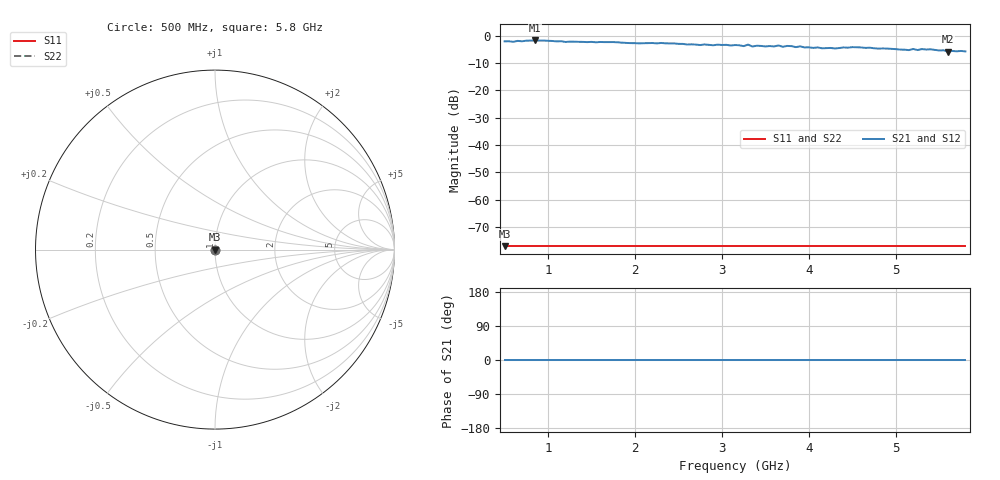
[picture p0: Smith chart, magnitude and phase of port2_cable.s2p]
# GHZ S RI R 50
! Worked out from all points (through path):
!   107 points, 500 MHz to 5.8 GHz, reference 50 ohm
!   highest |S21| = -1.79 dB at 850 MHz (marker M1); lowest = -5.9 dB at 5.6 GHz (marker M2)
!   lowest |S11| = -77.0 dB at 500 MHz (marker M3), VSWR 1.00, Z = 50 + j0.01 ohm
!   |S11| at or under -10 dB: start of sweep to end of sweep
!   |S22| runs from -77.0 to -77.0 dB; largest |S21 - S12| = 0
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0.5  0.0001 0.0001  0.7847 0  0.7847 0  0.0001 0.0001
0.6  0.0001 0.0001  0.768 0  0.768 0  0.0001 0.0001
0.85  0.0001 0.0001  0.8142 0  0.8142 0  0.0001 0.0001
1.4  0.0001 0.0001  0.7663 0  0.7663 0  0.0001 0.0001
2.3  0.0001 0.0001  0.733 0  0.733 0  0.0001 0.0001
2.75  0.0001 0.0001  0.6708 0  0.6708 0  0.0001 0.0001
3.15  0.0001 0.0001  0.6714 0  0.6714 0  0.0001 0.0001
3.25  0.0001 0.0001  0.6411 0  0.6411 0  0.0001 0.0001
3.3  0.0001 0.0001  0.6835 0  0.6835 0  0.0001 0.0001
3.35  0.0001 0.0001  0.631 0  0.631 0  0.0001 0.0001
3.65  0.0001 0.0001  0.6598 0  0.6598 0  0.0001 0.0001
3.7  0.0001 0.0001  0.6239 0  0.6239 0  0.0001 0.0001
3.75  0.0001 0.0001  0.6472 0  0.6472 0  0.0001 0.0001
4.05  0.0001 0.0001  0.5955 0  0.5955 0  0.0001 0.0001
4.3  0.0001 0.0001  0.5806 0  0.5806 0  0.0001 0.0001
4.5  0.0001 0.0001  0.6142 0  0.6142 0  0.0001 0.0001
4.95  0.0001 0.0001  0.5716 0  0.5716 0  0.0001 0.0001
5.15  0.0001 0.0001  0.5422 0  0.5422 0  0.0001 0.0001
5.2  0.0001 0.0001  0.569 0  0.569 0  0.0001 0.0001
5.4  0.0001 0.0001  0.5615 0  0.5615 0  0.0001 0.0001
5.6  0.0001 0.0001  0.5082 0  0.5082 0  0.0001 0.0001
5.8  0.0001 0.0001  0.5136 0  0.5136 0  0.0001 0.0001
